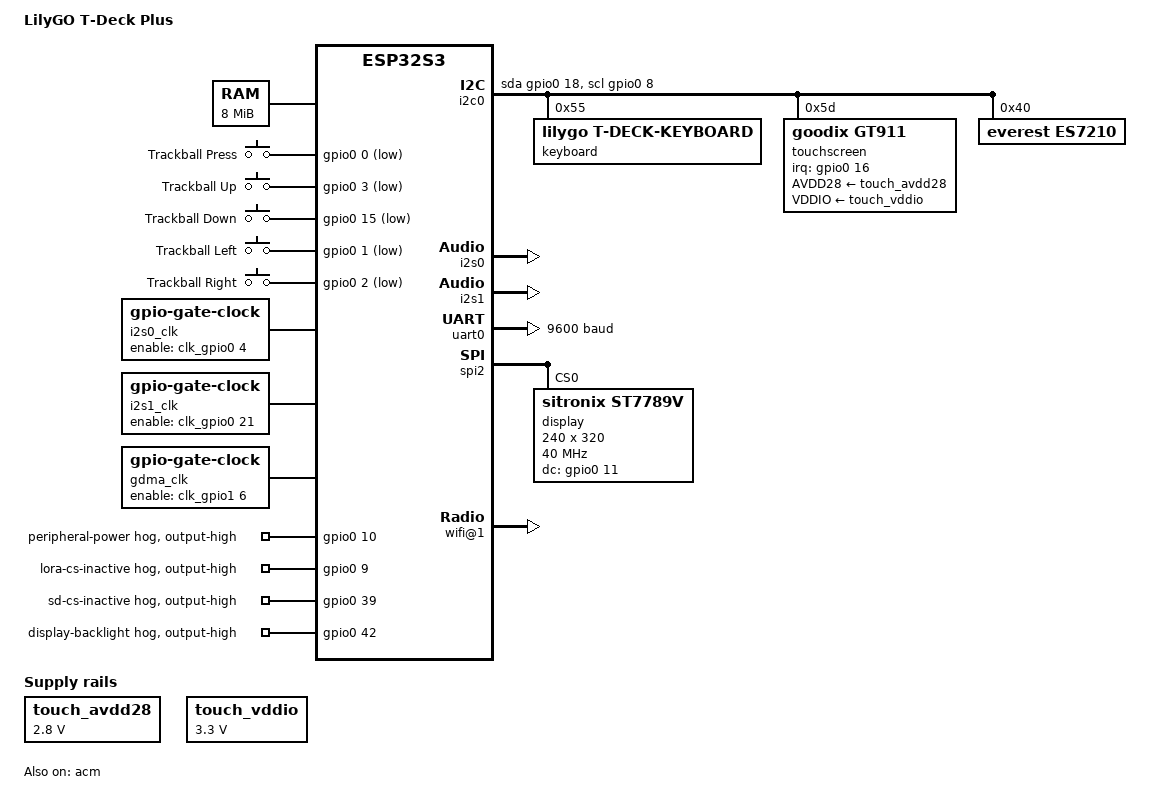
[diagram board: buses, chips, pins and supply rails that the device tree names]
// SPDX-License-Identifier: GPL-2.0-or-later
/*
 * LilyGO T-Deck Plus: ESP32-S3FN16R8, 16 MiB flash, 8 MiB PSRAM.
 *
 * Board pin assignments are from LilyGO's T-Deck Plus documentation and the
 * Zephyr t_deck board description. The ST7789 is write-only on SPI2; GPIO10
 * powers the board peripherals, and GPIO42 is the LCD backlight.
 */
/dts-v1/;
#include <dt-bindings/gpio/gpio.h>
#include <dt-bindings/interrupt-controller/irq.h>
#include <dt-bindings/input/input.h>
#include "gpio-esp32.h"
#include "esp32s3.dtsi"

/* GPIO matrix signal numbers, ESP32-S3 TRM table 6-2. */
#define SIG_FSPICLK	101
#define SIG_FSPID	103
#define SIG_FSPICS0	110

/* ESP32-S3 GPIO-matrix output signal indices. */
#define SIG_I2S1_MCLK	21
#define SIG_I2S0_BCK	22
#define SIG_I2S0_WS	24
#define SIG_I2S0_SD	25
#define SIG_I2S1_BCK	28
#define SIG_I2S1_WS	29
#define SIG_I2S1_SD	30
#define SIG_GPIO_IN_MUX	0x80

/ {
	model = "LilyGO T-Deck Plus";

	chosen {
		/* UART0 is wired to the GPS (GPIO43/44), not the serial console.
		 * Use the ESP32-S3 USB Serial/JTAG ACM port instead. */
		bootargs = "console=tty0 console=ttyGS3 fbcon=font:VGA8x16 rw root=mtd:rootfs rootfstype=cramfs panic=10 panic_console_replay ";
	};

	memory@0 {
		device_type = "memory";
		reg = <0x3d800000 0x00800000>;
	};

	/* The touchscreen's rails are always present while GPIO10 enables the
	 * peripheral domain. These fixed regulators describe the board wiring;
	 * they do not switch the rails. */
	touch_avdd28: avdd28-regulator {
		compatible = "regulator-fixed";
		regulator-name = "tdeck-touch-avdd28";
		regulator-min-microvolt = <2800000>;
		regulator-max-microvolt = <2800000>;
		regulator-always-on;
	};

	touch_vddio: vddio-regulator {
		compatible = "regulator-fixed";
		regulator-name = "tdeck-touch-vddio";
		regulator-min-microvolt = <3300000>;
		regulator-max-microvolt = <3300000>;
		regulator-always-on;
	};

	/* The keyboard is an I2C slave MCU, not a matrix wired to the S3. */
	i2c0 {
		#address-cells = <1>;
		#size-cells = <0>;
		compatible = "i2c-gpio";
		sda-gpios = <&gpio0 18 (GPIO_ACTIVE_HIGH | GPIO_OPEN_DRAIN)>;
		scl-gpios = <&gpio0 8 (GPIO_ACTIVE_HIGH | GPIO_OPEN_DRAIN)>;
		status = "okay";

		keyboard@55 {
			compatible = "lilygo,t-deck-keyboard";
			reg = <0x55>;
			poll-interval-ms = <10>;
			status = "okay";
		};

			touchscreen@5d {
			compatible = "goodix,gt911";
			reg = <0x5d>;
			interrupt-parent = <&gpio0>;
			interrupts = <16 IRQ_TYPE_EDGE_FALLING>;
			irq-gpios = <&gpio0 16 GPIO_ACTIVE_HIGH>;
			AVDD28-supply = <&touch_avdd28>;
			VDDIO-supply = <&touch_vddio>;
			touchscreen-size-x = <240>;
			touchscreen-size-y = <320>;
			touchscreen-swapped-x-y;
			touchscreen-inverted-x;
			status = "okay";
		};

		es7210: audio-codec@40 {
			compatible = "everest,es7210";
			reg = <0x40>;
			#sound-dai-cells = <0>;
			status = "okay";
		};
	};

	trackball: trackball {
		compatible = "gpio-keys";
		status = "okay";

		trackball-press {
			label = "Trackball Press";
			linux,code = <KEY_ENTER>;
			gpios = <&gpio0 0 GPIO_ACTIVE_LOW>;
			debounce-interval = <5>;
		};

		trackball-up {
			label = "Trackball Up";
			linux,code = <KEY_UP>;
			gpios = <&gpio0 3 GPIO_ACTIVE_LOW>;
			debounce-interval = <2>;
		};

		trackball-down {
			label = "Trackball Down";
			linux,code = <KEY_DOWN>;
			gpios = <&gpio0 15 GPIO_ACTIVE_LOW>;
			debounce-interval = <2>;
		};

		trackball-left {
			label = "Trackball Left";
			linux,code = <KEY_LEFT>;
			gpios = <&gpio0 1 GPIO_ACTIVE_LOW>;
			debounce-interval = <2>;
		};

		trackball-right {
			label = "Trackball Right";
			linux,code = <KEY_RIGHT>;
			gpios = <&gpio0 2 GPIO_ACTIVE_LOW>;
			debounce-interval = <2>;
		};
	};

	/* The GDMA block is shared by I2S0/I2S1. The audio driver accesses it
	 * through this shared syscon regmap and reserves only its own channels. */
	gdma_syscon: syscon@6003f000 {
		compatible = "syscon";
		reg = <0x6003f000 0x410>;
	};

	/* I2S0 drives the MAX98357A; I2S1 clocks the ES7210's 4-slot TDM stream. */
	i2s0_clk: i2s0-clock {
		#clock-cells = <0>;
		compatible = "gpio-gate-clock";
		clocks = <&clk 2>;
		enable-gpios = <&clk_gpio0 4 0>;
	};

	i2s1_clk: i2s1-clock {
		#clock-cells = <0>;
		compatible = "gpio-gate-clock";
		clocks = <&clk 2>;
		enable-gpios = <&clk_gpio0 21 0>;
	};

	gdma_clk: gdma-clock {
		#clock-cells = <0>;
		compatible = "gpio-gate-clock";
		clocks = <&clk 2>;
		enable-gpios = <&clk_gpio1 6 0>;
	};

	i2s0: i2s@6000f000 {
		compatible = "espressif,esp32s3-i2s";
		reg = <0x6000f000 0x1000>;
		reg-names = "i2s";
		interrupt-parent = <&intc>;
		interrupts = <71 13 0>; /* GDMA TX channel 0, CPU0 external IRQ13 */
		clocks = <&i2s0_clk>, <&gdma_clk>;
		clock-names = "i2s", "gdma";
		resets = <&reset 4>;
		reset-names = "reset";
		espressif,gdma-syscon = <&gdma_syscon>;
		#sound-dai-cells = <0>;
		pinctrl-0 = <&tdeck_audio_i2s0_pins>, <&tdeck_audio_i2s0_out>;
		pinctrl-names = "default";
		status = "okay";
	};

	i2s1: i2s@6002d000 {
		compatible = "espressif,esp32s3-i2s";
		reg = <0x6002d000 0x1000>;
		reg-names = "i2s";
		interrupt-parent = <&intc>;
		interrupts = <67 17 0>; /* GDMA RX channel 1, CPU0 external IRQ17 */
		clocks = <&i2s1_clk>, <&gdma_clk>;
		clock-names = "i2s", "gdma";
		resets = <&reset 21>;
		reset-names = "reset";
		espressif,gdma-syscon = <&gdma_syscon>;
		espressif,rx-tdm-slots = <4>;
		#sound-dai-cells = <0>;
		pinctrl-0 = <&tdeck_audio_i2s1_pins>,
			    <&tdeck_audio_i2s1_out>, <&tdeck_audio_i2s1_in>;
		pinctrl-names = "default";
		status = "okay";
	};

	max98357a: speaker-amplifier {
		compatible = "maxim,max98357a";
		#sound-dai-cells = <0>;
		status = "okay";
	};

	sound-speaker {
		compatible = "simple-audio-card";
		simple-audio-card,name = "T-Deck Plus Speaker";
		simple-audio-card,format = "i2s";
		simple-audio-card,mclk-fs = <256>;
		simple-audio-card,bitclock-master = <&speaker_cpu>;
		simple-audio-card,frame-master = <&speaker_cpu>;
		simple-audio-card,widgets = "Speaker", "Internal Speaker";
		simple-audio-card,routing = "Internal Speaker", "Speaker";

		speaker_cpu: simple-audio-card,cpu {
			sound-dai = <&i2s0>;
			system-clock-direction-out;
		};
		simple-audio-card,codec {
			sound-dai = <&max98357a>;
		};
	};

	sound-microphone {
		compatible = "simple-audio-card";
		simple-audio-card,name = "T-Deck Plus Microphone";
		simple-audio-card,format = "i2s";
		simple-audio-card,mclk-fs = <256>;
		simple-audio-card,bitclock-master = <&microphone_cpu>;
		simple-audio-card,frame-master = <&microphone_cpu>;
		simple-audio-card,widgets = "Microphone", "T-Deck MIC1",
					"Microphone", "T-Deck MIC3";
		simple-audio-card,routing = "MIC1", "T-Deck MIC1",
					 "MIC3", "T-Deck MIC3";

		microphone_cpu: simple-audio-card,cpu {
			sound-dai = <&i2s1>;
			system-clock-direction-out;
		};
		simple-audio-card,codec {
			sound-dai = <&es7210>;
		};
	};
};

&iomux {
	status = "okay";

	/* Configure GPIOs before gpio-hogs turn on the shared peripheral rail
	 * and set the inactive CS/backlight levels. */
	tdeck_gpio_pins: tdeck_gpio_pins {
		pinctrl-single,pins = <
			PIN(0)  (FUN_SEL(1) | FUN_DRV_20MA | FUN_IE | FUN_WPU) /* trackball press / BOOT */
			PIN(1)  (FUN_SEL(1) | FUN_DRV_20MA | FUN_IE | FUN_WPU) /* trackball left */
			PIN(2)  (FUN_SEL(1) | FUN_DRV_20MA | FUN_IE | FUN_WPU) /* trackball right */
			PIN(3)  (FUN_SEL(1) | FUN_DRV_20MA | FUN_IE | FUN_WPU) /* trackball up */
			PIN(8)  (FUN_SEL(1) | FUN_DRV_20MA | FUN_IE | FUN_WPU) /* I2C SCL */
			PIN(9)  (FUN_SEL(1) | FUN_DRV_20MA)                  /* LoRa CS, inactive */
			PIN(10) (FUN_SEL(1) | FUN_DRV_20MA)                  /* peripheral power */
			PIN(11) (FUN_SEL(1) | FUN_DRV_20MA)                  /* TFT D/C */
			PIN(15) (FUN_SEL(1) | FUN_DRV_20MA | FUN_IE | FUN_WPU) /* trackball down */
			PIN(16) (FUN_SEL(1) | FUN_DRV_20MA | FUN_IE | FUN_WPU) /* GT911 IRQ */
			PIN(18) (FUN_SEL(1) | FUN_DRV_20MA | FUN_IE | FUN_WPU) /* I2C SDA */
			PIN(39) (FUN_SEL(1) | FUN_DRV_20MA)                  /* SD CS, inactive */
			PIN(42) (FUN_SEL(1) | FUN_DRV_20MA)                  /* TFT backlight */
			PIN(46) (FUN_SEL(1) | FUN_IE | FUN_WPU)>;             /* keyboard IRQ (polled protocol) */
	};

	tdeck_spi2_pins: tdeck_spi2_pins {
		pinctrl-single,pins = <
			PIN(12) (FUN_SEL(1) | FUN_DRV_20MA) /* TFT CS */
			PIN(40) (FUN_SEL(1) | FUN_DRV_40MA) /* SPI SCK */
			PIN(41) (FUN_SEL(1) | FUN_DRV_40MA)>;/* SPI MOSI */
	};

	tdeck_audio_i2s0_pins: tdeck_audio_i2s0_pins {
		pinctrl-single,pins = <
			PIN(5)  (FUN_SEL(1) | FUN_DRV_20MA) /* I2S0 WS */
			PIN(6)  (FUN_SEL(1) | FUN_DRV_20MA) /* I2S0 SD */
			PIN(7)  (FUN_SEL(1) | FUN_DRV_20MA)>; /* I2S0 BCK */
	};

	tdeck_audio_i2s1_pins: tdeck_audio_i2s1_pins {
		pinctrl-single,pins = <
			PIN(14) (FUN_SEL(1) | FUN_IE) /* ES7210 SDOUT1 */
			PIN(21) (FUN_SEL(1) | FUN_DRV_20MA) /* I2S1 WS */
			PIN(47) (FUN_SEL(1) | FUN_DRV_20MA) /* I2S1 BCK */
			PIN(48) (FUN_SEL(1) | FUN_DRV_20MA)>; /* ES7210 MCLK */
	};

	tdeck_uart0_pins: tdeck_uart0_pins {
		pinctrl-single,pins = <
			PIN(43) FUN0_20MA         /* GPS TX */
			PIN(44) FUN0_20MA_IE_WPU>; /* GPS RX */
	};
};

&gpio_out_mux {
	status = "okay";

	tdeck_spi2_out: tdeck_spi2_out {
		pinctrl-single,pins = <
			GPIO_FUNC_OUT_SEL(12) SIG_FSPICS0
			GPIO_FUNC_OUT_SEL(40) SIG_FSPICLK
			GPIO_FUNC_OUT_SEL(41) SIG_FSPID>;
	};

	tdeck_audio_i2s0_out: tdeck_audio_i2s0_out {
		pinctrl-single,pins = <
			GPIO_FUNC_OUT_SEL(7) SIG_I2S0_BCK
			GPIO_FUNC_OUT_SEL(5) SIG_I2S0_WS
			GPIO_FUNC_OUT_SEL(6) SIG_I2S0_SD>;
	};

	tdeck_audio_i2s1_out: tdeck_audio_i2s1_out {
		pinctrl-single,pins = <
			GPIO_FUNC_OUT_SEL(47) SIG_I2S1_BCK
			GPIO_FUNC_OUT_SEL(21) SIG_I2S1_WS
			GPIO_FUNC_OUT_SEL(48) SIG_I2S1_MCLK>;
	};
};

&gpio_in_mux {
	status = "okay";

	tdeck_audio_i2s1_in: tdeck_audio_i2s1_in {
		pinctrl-single,pins = <
			GPIO_FUNC_IN_SEL(SIG_I2S1_SD) (14 | SIG_GPIO_IN_MUX)>;
	};
};

&gpio0 {
	pinctrl-0 = <&tdeck_gpio_pins>;
	pinctrl-names = "default";
	status = "okay";

	peripheral-power {
		gpio-hog;
		gpios = <10 GPIO_ACTIVE_HIGH>;
		output-high;
		line-name = "peripheral-power";
	};

	lora-cs-inactive {
		gpio-hog;
		gpios = <9 GPIO_ACTIVE_HIGH>;
		output-high;
		line-name = "lora-cs-inactive";
	};

	sd-cs-inactive {
		gpio-hog;
		gpios = <39 GPIO_ACTIVE_HIGH>;
		output-high;
		line-name = "sd-cs-inactive";
	};

	display-backlight {
		gpio-hog;
		gpios = <42 GPIO_ACTIVE_HIGH>;
		output-high;
		line-name = "display-backlight";
	};
};

&uart0 {
	pinctrl-0 = <&tdeck_uart0_pins>;
	pinctrl-names = "default";
	current-speed = <9600>;
	status = "okay";
};

&spi2 {
	pinctrl-0 = <&tdeck_spi2_pins>, <&tdeck_spi2_out>;
	pinctrl-names = "default";
	status = "okay";

	display@0 {
		compatible = "sitronix,st7789v";
		reg = <0>;
		spi-max-frequency = <40000000>;
		buswidth = <8>;
		/* FBTFT's native geometry is portrait; MADCTL rotates it to the
		 * T-Deck's 320x240 landscape orientation. */
		width = <240>;
		height = <320>;
		rotate = <270>;
		dc-gpios = <&gpio0 11 GPIO_ACTIVE_HIGH>;
		gamma = "D0 0D 14 0D 0D 09 38 44 4E 3A 17 18 2F 30\nD0 09 0F 08 07 14 37 44 4D 38 15 16 2C 3E";

		/* ST7789V initialization for the T-Deck's 320x240 panel, based on
		 * the Zephyr/LilyGO sequence. FBTFT interprets bit 24 as a
		 * register write and bit 25 as a millisecond delay. */
		init = <
			0x01000001             /* software reset */
			0x02000005             /* 5 ms */
			0x01000028             /* display off */
			0x010000DF 0x5A 0x69 0x02 0x01 /* command-2 enable */
			0x010000B2 0x0C 0x0C 0x00 0x33 0x33 /* porch */
			0x010000BA 0x00       /* digital gamma disabled */
			0x010000C6 0x0F       /* frame rate */
			0x010000B7 0x75       /* gate control */
			0x010000BB 0x1A       /* VCOM */
			0x010000C2 0x01       /* VDV/VRH enable */
			0x010000C3 0x13       /* VRH */
			0x010000C4 0x20       /* VDV */
			0x010000D0 0xA4 0xA1 /* power control */
			0x0100003A 0x55       /* RGB565 */
			0x010000C0 0x2C       /* LCM control */
			0x01000026 0x01       /* gamma curve */
			0x01000021             /* inversion on */
			0x010000E0 0xD0 0x0D 0x14 0x0D 0x0D 0x09 0x38
			           0x44 0x4E 0x3A 0x17 0x18 0x2F 0x30
			0x010000E1 0xD0 0x09 0x0F 0x08 0x07 0x14 0x37
			           0x44 0x4D 0x38 0x15 0x16 0x2C 0x3E
			0x010000B0 0x00 0xF0 /* RAM control */
			0x010000B1 0x40 0x02 0x14 /* RGB control */
			0x01000011             /* sleep out */
			0x02000078             /* 120 ms */
			0x01000029             /* display on */
			0x0200000A             /* 10 ms */
		>;
	};
};

&acm {
	status = "okay";
};

&ipc {
	wifi@1 {
		compatible = "esp,esp32-wifi-shmem";
		reg = <1>;
	};
};

&intc {
	reg = <0x600c2800 0x800>;
};
